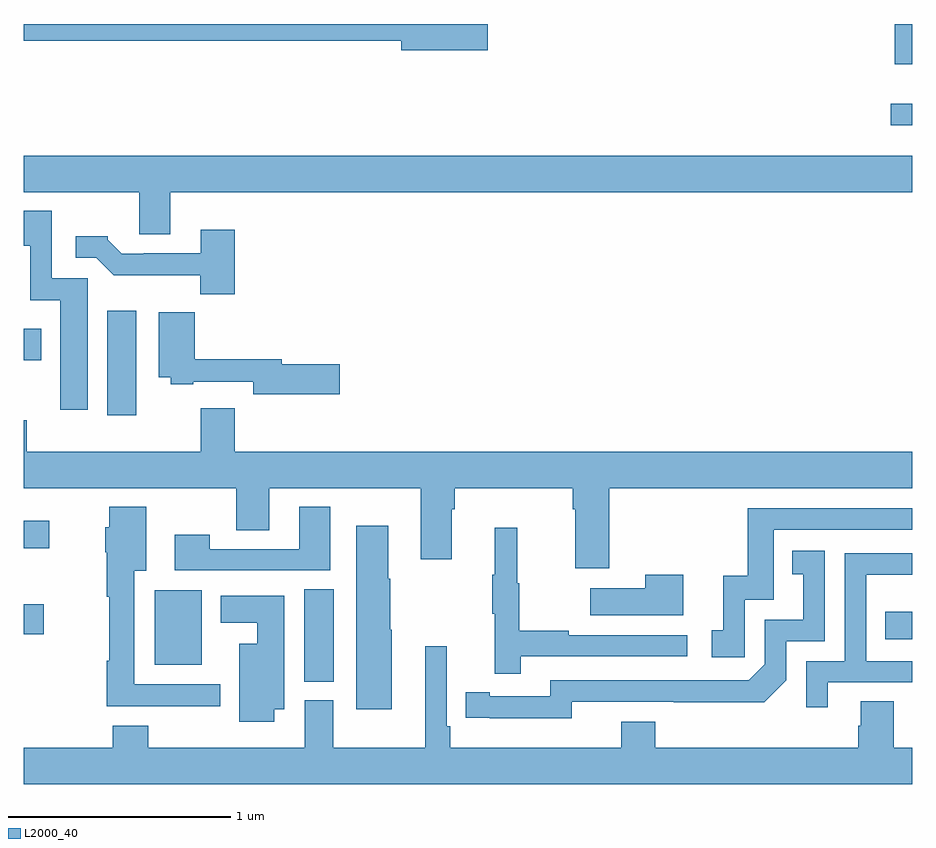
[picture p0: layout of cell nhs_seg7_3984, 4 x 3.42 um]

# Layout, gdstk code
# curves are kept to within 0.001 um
import gdstk
lib = gdstk.Library(unit=1e-6, precision=1e-09)
def R(c, l, rs):  # rectangles x0, y0, x1, y1
    for r in rs: c.add(gdstk.rectangle(r[:2], r[2:], *l))
def P(c, l, *ps):  # polygons
    for p in ps: c.add(gdstk.Polygon(p, *l))
L2000_40 = (2000, 40)

nhs_seg7_3984 = lib.new_cell('nhs_seg7_3984')
R(nhs_seg7_3984, L2000_40, [(364.262,1037.041,364.396,1037.456), (363.59,1037.117,363.802,1037.452), (366.877,1037.232,367,1037.355), (363,1037.255,363.091,1037.389), (363,1037.642,363.115,1037.764), (363.377,1038.24,363.508,1038.709), (363,1038.488,363.079,1038.628), (366.903,1039.544,367,1039.641), (366.92,1039.82,367,1040)])
P(nhs_seg7_3984, L2000_40, [(365.089,1040),(363,1040),(363,1039.924),(364.7,1039.924),(364.7,1039.882),(365.089,1039.882)],
  [(363.661,1039.244),(367,1039.244),(367,1039.408),(363,1039.408),(363,1039.244),(363.521,1039.244),(363.521,1039.054),(363.661,1039.054)],
  [(363.289,1038.855),(363.126,1038.855),(363.126,1039.159),(363,1039.159),(363,1039.003),(363.03,1039.003),(363.03,1038.758),(363.164,1038.758),(363.164,1038.264),(363.289,1038.264)],
  [(363.95,1039.075),(363.797,1039.075),(363.797,1038.969),(363.541,1038.969),(363.541,1038.966),(363.442,1038.966),(363.378,1039.03),(363.378,1039.045),(363.234,1039.045),(363.234,1038.948),(363.327,1038.948),(363.406,1038.87),(363.795,1038.87),(363.795,1038.785),(363.95,1038.785)],
  [(364.423,1038.47),(364.162,1038.47),(364.162,1038.491),(363.77,1038.491),(363.77,1038.703),(363.608,1038.703),(363.608,1038.41),(363.663,1038.41),(363.663,1038.378),(363.763,1038.378),(363.763,1038.39),(364.034,1038.39),(364.034,1038.335),(364.423,1038.335)],
  [(365.636,1037.912),(367,1037.912),(367,1038.076),(363.95,1038.076),(363.95,1038.271),(363.797,1038.271),(363.797,1038.076),(363.014,1038.076),(363.014,1038.217),(363,1038.217),(363,1037.912),(363.958,1037.912),(363.958,1037.722),(364.105,1037.722),(364.105,1037.912),(364.787,1037.912),(364.787,1037.592),(364.927,1037.592),(364.927,1037.816),(364.94,1037.816),(364.94,1037.912),(365.471,1037.912),(365.471,1037.816),(365.483,1037.816),(365.483,1037.55),(365.636,1037.55)],
  [(364.381,1037.827),(364.241,1037.827),(364.241,1037.637),(363.837,1037.637),(363.837,1037.701),(363.681,1037.701),(363.681,1037.541),(364.381,1037.541)],
  [(363.886,1037.028),(363.499,1037.028),(363.499,1037.54),(363.553,1037.54),(363.553,1037.827),(363.386,1037.827),(363.386,1037.736),(363.368,1037.736),(363.368,1037.622),(363.374,1037.622),(363.374,1037.422),(363.386,1037.422),(363.386,1037.135),(363.374,1037.135),(363.374,1036.93),(363.886,1036.93)],
  [(366.246,1037.409),(366.375,1037.409),(366.375,1037.724),(367,1037.724),(367,1037.82),(366.259,1037.82),(366.259,1037.518),(366.149,1037.518),(366.149,1037.271),(366.096,1037.271),(366.096,1037.151),(366.246,1037.151)],
  [(364.657,1037.274),(364.65,1037.274),(364.65,1037.504),(364.642,1037.504),(364.642,1037.743),(364.496,1037.743),(364.496,1036.916),(364.657,1036.916)],
  [(365.237,1037.154),(365.986,1037.154),(365.986,1037.25),(365.453,1037.25),(365.453,1037.27),(365.23,1037.27),(365.23,1037.484),(365.222,1037.484),(365.222,1037.734),(365.12,1037.734),(365.12,1037.521),(365.109,1037.521),(365.109,1037.347),(365.12,1037.347),(365.12,1037.076),(365.237,1037.076)],
  [(365.466,1036.95),(366.334,1036.949),(366.432,1037.046),(366.432,1037.223),(366.606,1037.223),(366.606,1037.629),(366.46,1037.629),(366.46,1037.523),(366.509,1037.523),(366.509,1037.319),(366.336,1037.319),(366.336,1037.118),(366.264,1037.046),(365.37,1037.046),(365.37,1036.974),(365.098,1036.974),(365.098,1036.994),(364.99,1036.994),(364.99,1036.878),(365.466,1036.877)],
  [(366.619,1037.037),(367,1037.037),(367,1037.133),(366.792,1037.133),(366.792,1037.522),(367,1037.522),(367,1037.619),(366.696,1037.619),(366.696,1037.133),(366.522,1037.133),(366.522,1036.926),(366.619,1036.926)],
  [(365.968,1037.521),(365.798,1037.521),(365.798,1037.461),(365.549,1037.461),(365.549,1037.339),(365.968,1037.339)],
  [(364.129,1036.916),(364.174,1036.916),(364.174,1037.428),(363.887,1037.428),(363.887,1037.306),(364.052,1037.306),(364.052,1037.212),(363.971,1037.212),(363.971,1036.86),(364.129,1036.86)],
  [(367,1036.744),(366.915,1036.744),(366.915,1036.952),(366.767,1036.952),(366.767,1036.842),(366.755,1036.842),(366.755,1036.744),(365.843,1036.744),(365.843,1036.861),(365.69,1036.861),(365.69,1036.744),(364.919,1036.744),(364.919,1036.84),(364.905,1036.84),(364.905,1037.2),(364.808,1037.2),(364.808,1036.744),(364.393,1036.744),(364.393,1036.956),(364.265,1036.956),(364.265,1036.744),(363.561,1036.744),(363.561,1036.843),(363.401,1036.843),(363.401,1036.744),(363,1036.744),(363,1036.58),(367,1036.58)])

lib.write_gds('nhs_seg7_3984.gds')
